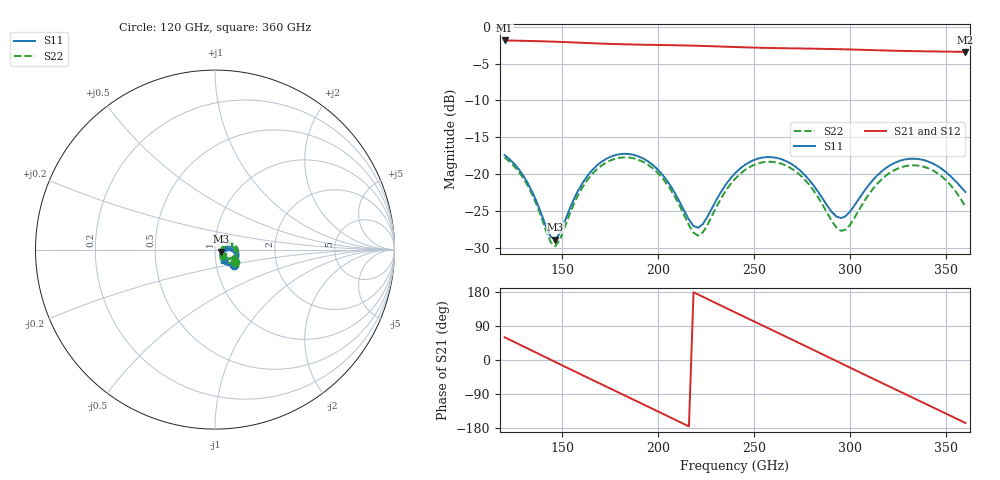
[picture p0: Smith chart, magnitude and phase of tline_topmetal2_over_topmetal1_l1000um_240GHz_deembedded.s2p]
! Created with skrf 2.0.1 (http://scikit-rf.org).
# GHz S DB R 50.0
!freq dBS11 angS11 dBS21 angS21 dBS12 angS12 dBS22 angS22
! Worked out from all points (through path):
!   101 points, 120 GHz to 360 GHz, reference 50 ohm
!   highest |S21| = -1.86 dB at 120 GHz (marker M1); lowest = -3.4 dB at 360 GHz (marker M2)
!   group delay of S21, straight-line fit = 6.78 ps
!   lowest |S11| = -28.9 dB at 146.4 GHz (marker M3), VSWR 1.07, Z = 53.5 - j1.19 ohm
!   |S11| at or under -10 dB: start of sweep to end of sweep
!   |S22| runs from -29.8 to -17.7 dB; largest |S21 - S12| = 1.2e-13
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120  -17.41 -39.9  -1.86 59.9  -1.86 59.9  -17.73 -32.2
134.4  -22.39 -58.1  -1.94 24.5  -1.94 24.5  -22.77 -50.2
146.4  -28.85 -17.9  -2.04 -5.2  -2.04 -5.2  -29.75 -8.9
160.8  -21.09 12.6  -2.19 -40.6  -2.19 -40.6  -21.66 24.9
170.4  -18.33 -0.2  -2.29 -64.0  -2.29 -64.0  -18.84 12.6
180  -17.28 -16.5  -2.37 -87.4  -2.37 -87.4  -17.76 -3.3
189.6  -17.56 -33.1  -2.43 -110.7  -2.43 -110.7  -18.03 -19.6
201.6  -19.88 -50.6  -2.48 -139.9  -2.48 -139.9  -20.34 -36.9
211.2  -23.76 -53.7  -2.53 -163.5  -2.53 -163.5  -24.29 -40.8
220.8  -27.26 -22.5  -2.59 172.9  -2.59 172.9  -28.33 -9.0
230.4  -23.43 4.9  -2.67 149.3  -2.67 149.3  -24.38 22.1
240  -19.88 0.5  -2.75 125.9  -2.75 125.9  -20.63 18.4
249.6  -18.10 -12.6  -2.83 102.6  -2.83 102.6  -18.77 5.4
259.2  -17.69 -27.7  -2.89 79.3  -2.89 79.3  -18.32 -9.7
268.8  -18.51 -42.0  -2.93 56.0  -2.93 56.0  -19.12 -24.4
280.8  -21.48 -53.2  -2.98 26.7  -2.98 26.7  -22.17 -37.1
295.2  -25.95 -27.5  -3.05 -8.6  -3.05 -8.6  -27.68 -11.2
307.2  -22.32 -2.8  -3.14 -37.9  -3.14 -37.9  -23.71 19.8
321.6  -18.67 -13.5  -3.24 -72.9  -3.24 -72.9  -19.65 8.6
338.4  -18.09 -36.4  -3.33 -113.6  -3.33 -113.6  -18.99 -16.8
350.4  -19.83 -49.4  -3.38 -142.8  -3.38 -142.8  -20.95 -33.3
360  -22.40 -49.9  -3.41 -166.2  -3.41 -166.2  -24.40 -38.4
